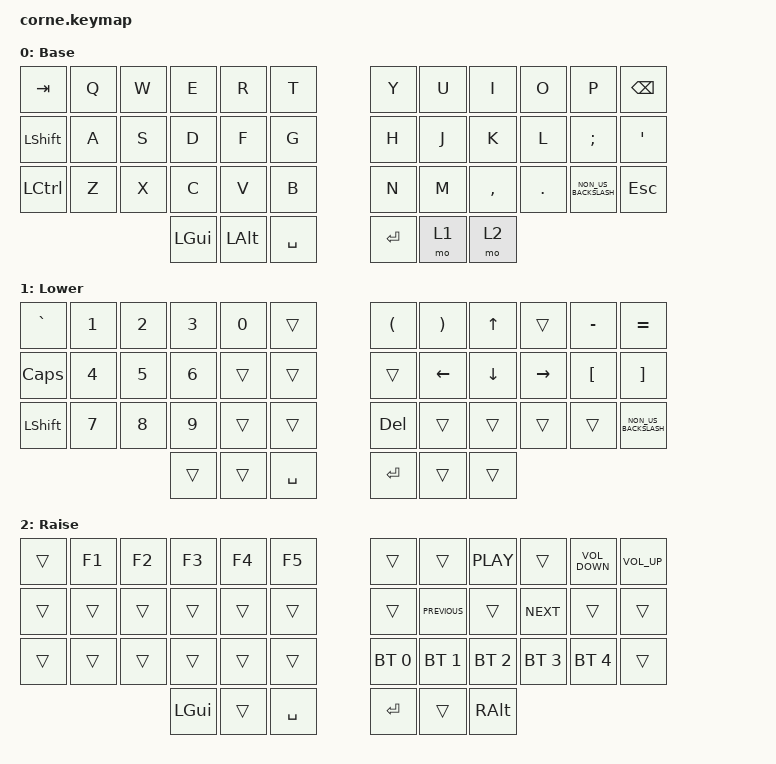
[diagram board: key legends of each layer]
/*
 * Copyright (c) 2020 The ZMK Contributors
 *
 * SPDX-License-Identifier: MIT
 */

#include <behaviors.dtsi>
#include <dt-bindings/zmk/bt.h>
#include <dt-bindings/zmk/keys.h>

/ {
    keymap {
        compatible = "zmk,keymap";

        default_layer {
            // -----------------------------------------------------------------------------------------
            // |  TAB |  Q  |  W  |  E  |  R  |  T  |   |  Y  |  U   |  I  |  O  |  P  | BKSP |
            // | CTRL |  A  |  S  |  D  |  F  |  G  |   |  H  |  J   |  K  |  L  |  ;  |  '   |
            // | SHFT |  Z  |  X  |  C  |  V  |  B  |   |  N  |  M   |  ,  |  .  |  /  | ESC  |
            //                    | GUI | LWR | SPC |   | ENT | RSE  | ALT |

            display-name = "Base";
            bindings = <
&kp TAB           &kp Q  &kp W  &kp E     &kp R         &kp T        &kp Y    &kp U  &kp I      &kp O    &kp P                 &kp BSPC
&kp LEFT_SHIFT    &kp A  &kp S  &kp D     &kp F         &kp G        &kp H    &kp J  &kp K      &kp L    &kp SEMI              &kp SQT
&kp LEFT_CONTROL  &kp Z  &kp X  &kp C     &kp V         &kp B        &kp N    &kp M  &kp COMMA  &kp DOT  &kp NON_US_BACKSLASH  &kp ESCAPE
                                &kp LGUI  &kp LEFT_ALT  &kp SPACE    &kp RET  &mo 1  &mo 2
            >;
        };

        lower_layer {
            // -----------------------------------------------------------------------------------------
            // |  TAB |  1  |  2  |  3  |  4  |  5  |   |  6  |  7  |  8  |  9  |  0  | BKSP |
            // | BTCLR| BT1 | BT2 | BT3 | BT4 | BT5 |   | LFT | DWN |  UP | RGT |     |      |
            // | SHFT |     |     |     |     |     |   |     |     |     |     |     |      |
            //                    | GUI |     | SPC |   | ENT |     | ALT |

            display-name = "Lower";
            bindings = <
&kp GRAVE     &kp N1        &kp N2  &kp N3        &kp N0  &trans       &kp LEFT_PARENTHESIS  &kp RIGHT_PARENTHESIS  &kp UP_ARROW    &trans           &kp MINUS         &kp EQUAL
&kp CAPSLOCK  &kp NUMBER_4  &kp N5  &kp NUMBER_6  &trans  &trans       &trans                &kp LEFT_ARROW         &kp DOWN_ARROW  &kp RIGHT_ARROW  &kp LEFT_BRACKET  &kp RIGHT_BRACKET
&kp LSHFT     &kp N7        &kp N8  &kp N9        &trans  &trans       &kp DELETE            &trans                 &trans          &trans           &trans            &kp NON_US_BACKSLASH
                                    &trans        &trans  &kp SPACE    &kp RET               &trans                 &trans
            >;
        };

        raise_layer {
            // -----------------------------------------------------------------------------------------
            // |  TAB |  !  |  @  |  #  |  $  |  %  |   |  ^  |  &  |  *  |  (  |  )  | BKSP |
            // | CTRL |     |     |     |     |     |   |  -  |  =  |  [  |  ]  |  \  |  `   |
            // | SHFT |     |     |     |     |     |   |  _  |  +  |  {  |  }  | "|" |  ~   |
            //                    | GUI |     | SPC |   | ENT |     | ALT |

            display-name = "Raise";
            bindings = <
&trans  &kp F1  &kp F2  &kp F3    &kp F4  &kp F5       &trans        &trans          &kp C_PLAY    &trans        &kp C_VOLUME_DOWN  &kp C_VOLUME_UP
&trans  &trans  &trans  &trans    &trans  &trans       &trans        &kp C_PREVIOUS  &trans        &kp C_NEXT    &trans             &trans
&trans  &trans  &trans  &trans    &trans  &trans       &bt BT_SEL 0  &bt BT_SEL 1    &bt BT_SEL 2  &bt BT_SEL 3  &bt BT_SEL 4       &trans
                        &kp LGUI  &trans  &kp SPACE    &kp RET       &trans          &kp RALT
            >;
        };
    };
};
